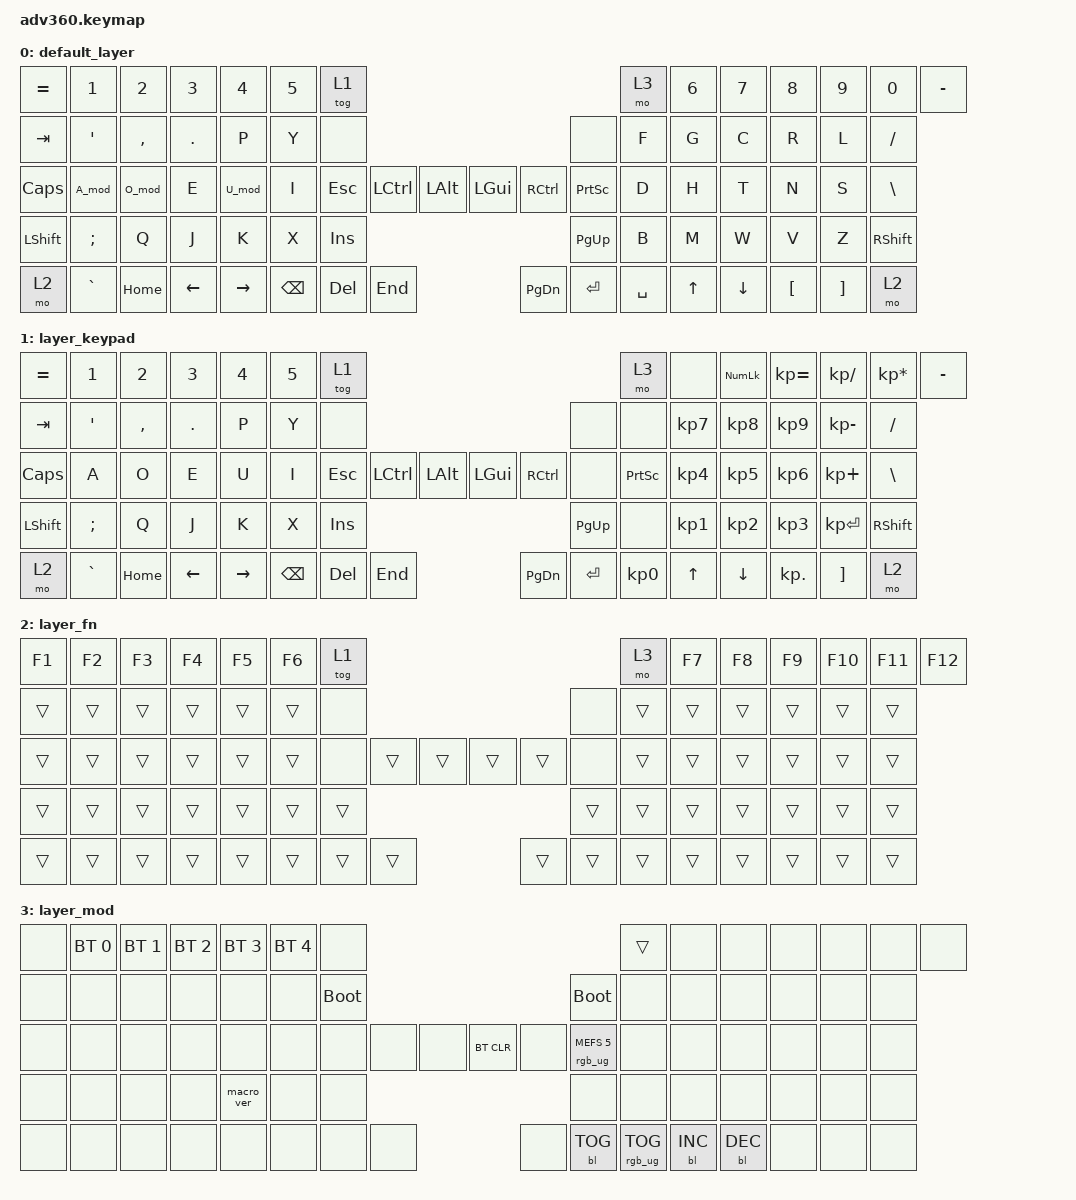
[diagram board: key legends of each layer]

/*
 * Copyright (c) 2020 The ZMK Contributors
 *
 * SPDX-License-Identifier: MIT
 */


/* Modified by WOGAUT
 *
 * DVORAK Layout and German Umlauts, Sept 2024
 */

#include <behaviors.dtsi>
#include <dt-bindings/zmk/keys.h>
#include <dt-bindings/zmk/bt.h>
#include <dt-bindings/zmk/rgb.h>
#include <dt-bindings/zmk/backlight.h>

/ {
  behaviors {
    #include "macros.dtsi"
    #include "version.dtsi"

    hm: homerow_mods {
        compatible = "zmk,behavior-hold-tap";
        label = "HOMEROW_MODS";
        #binding-cells = <2>;
        tapping-term-ms = <200>;
        quick_tap_ms = <175>;
        flavor = "tap-preferred";
        bindings = <&kp>, <&kp>;
    };
    umla: umlaut_a {
        compatible = "zmk,behavior-mod-morph";
        #binding-cells = <0>;
        bindings = <&macro_umlaut_a>, <&macro_umlaut_a_cap>;
        mods = <(MOD_LSFT|MOD_RSFT)>;
    };
    umlo: umlaut_o {
        compatible = "zmk,behavior-mod-morph";
        #binding-cells = <0>;
        bindings = <&macro_umlaut_o>, <&macro_umlaut_o_cap>;
        mods = <(MOD_LSFT|MOD_RSFT)>;
    };
    umlu: umlaut_u {
        compatible = "zmk,behavior-mod-morph";
        #binding-cells = <0>;
        bindings = <&macro_umlaut_u>, <&macro_umlaut_u_cap>;
        mods = <(MOD_LSFT|MOD_RSFT)>;
    };
    A_mod: A_umlaut_a {
        compatible = "zmk,behavior-mod-morph";
        #binding-cells = <0>;
        bindings = <&kp A>, <&umla>;
        mods = <(MOD_RCTL)>;
    };
    O_mod: O_umlaut_o {
        compatible = "zmk,behavior-mod-morph";
        #binding-cells = <0>;
        bindings = <&kp O>, <&umlo>;
        mods = <(MOD_RCTL)>;
    };
    U_mod: U_umlaut_u {
        compatible = "zmk,behavior-mod-morph";
        #binding-cells = <0>;
        bindings = <&kp U>, <&umlu>;
        mods = <(MOD_RCTL)>;
    };
  };

    keymap {
        compatible = "zmk,keymap";


        default_layer {
            bindings = <
 &kp EQUAL     &kp N1     &kp N2    &kp N3     &kp N4  &kp N5                     &tog 1                                                                 &mo 3  &kp N6  &kp N7    &kp N8    &kp N9    &kp N0  &kp MINUS
   &kp TAB    &kp SQT  &kp COMMA   &kp DOT      &kp P   &kp Y            &none                                                                 &none   &kp F   &kp G     &kp C     &kp R     &kp L   &kp FSLH
  &kp CAPS      &A_mod    &O_mod     &kp E     &U_mod   &kp I                    &kp ESC  &kp LCTRL  &kp LALT                   &kp LGUI  &kp RCTRL      &kp PRINTSCREEN   &kp D   &kp H     &kp T     &kp N     &kp S   &kp BSLH
 &kp LSHFT   &kp SEMI      &kp Q     &kp J      &kp K   &kp X                                         &kp INS                  &kp PG_UP                         &kp B   &kp M     &kp W     &kp V     &kp Z  &kp RSHFT
     &mo 2  &kp GRAVE   &kp HOME  &kp LEFT  &kp RIGHT                           &kp BSPC    &kp DEL   &kp END                  &kp PG_DN  &kp ENTER  &kp SPACE          &kp UP  &kp DOWN  &kp LBKT  &kp RBKT      &mo 2
            >;
        };

        layer_keypad {
            bindings = <
 &kp EQUAL     &kp N1    &kp N2    &kp N3     &kp N4  &kp N5              &tog 1                                                                 &mo 3   &none  &kp KP_NUM  &kp KP_EQUAL  &kp KP_DIVIDE  &kp KP_MULTIPLY  &kp MINUS
   &kp TAB    &kp SQT &kp COMMA   &kp DOT      &kp P   &kp Y     &none                                                                 &none   &none   &kp KP_N7     &kp KP_N8      &kp KP_N9     &kp KP_MINUS   &kp FSLH
  &kp CAPS      &kp A     &kp O     &kp E      &kp U   &kp I             &kp ESC  &kp LCTRL  &kp LALT                   &kp LGUI  &kp RCTRL      &none   &kp PRINTSCREEN   &kp KP_N4     &kp KP_N5      &kp KP_N6      &kp KP_PLUS   &kp BSLH
 &kp LSHFT   &kp SEMI     &kp Q     &kp J      &kp K   &kp X                                  &kp INS                  &kp PG_UP                         &none   &kp KP_N1     &kp KP_N2      &kp KP_N3     &kp KP_ENTER  &kp RSHFT
     &mo 2  &kp GRAVE  &kp HOME  &kp LEFT  &kp RIGHT                    &kp BSPC    &kp DEL   &kp END                  &kp PG_DN  &kp ENTER  &kp KP_N0              &kp UP      &kp DOWN     &kp KP_DOT         &kp RBKT      &mo 2
            >;
        };

        layer_fn {
            bindings = <
 &kp F1           &kp F2           &kp F3  &kp F4           &kp F5  &kp F6            &tog 1                                                   &mo 3  &kp F7  &kp F8  &kp F9  &kp F10  &kp F11  &kp F12
 &trans           &trans           &trans  &trans           &trans  &trans             &none                                                   &none  &trans  &trans  &trans   &trans   &trans   &trans
 &trans           &trans    &trans  &trans           &trans  &trans             &none  &trans  &trans                  &trans  &trans   &none  &trans  &trans  &trans   &trans   &trans   &trans
 &trans           &trans           &trans  &trans           &trans  &trans                            &trans                  &trans                  &trans  &trans  &trans   &trans   &trans   &trans
 &trans           &trans           &trans  &trans           &trans                    &trans  &trans  &trans                  &trans  &trans  &trans          &trans  &trans   &trans   &trans   &trans
            >;
        };

        layer_mod {
            bindings = <
  &none  &bt BT_SEL 0  &bt BT_SEL 1  &bt BT_SEL 2  &bt BT_SEL 3  &bt BT_SEL 4                  &none                                                                          &trans   &none       &none       &none   &none   &none   &none
  &none         &none         &none         &none         &none         &none            &bootloader                                                                     &bootloader   &none       &none       &none   &none   &none   &none
  &none         &none         &none         &none         &none         &none                  &none   &none   &none                  &bt BT_CLR       &none  &rgb_ug RGB_MEFS_CMD 5   &none       &none       &none   &none   &none   &none
  &none         &none         &none         &none    &macro_ver         &none                                  &none                       &none                                       &none       &none       &none   &none   &none   &none
  &none         &none         &none         &none         &none                                &none   &none   &none                       &none  &bl BL_TOG         &rgb_ug RGB_TOG          &bl BL_INC  &bl BL_DEC   &none   &none   &none
            >;
        };

    };
};
